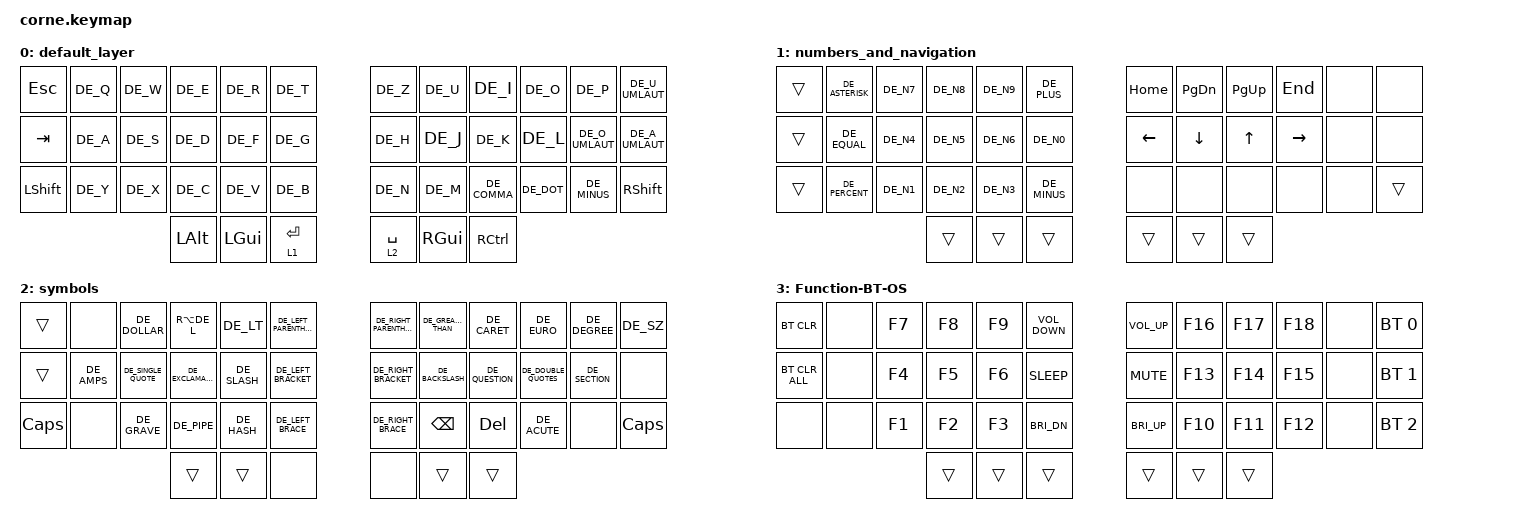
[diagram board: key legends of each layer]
/*
 * Copyright (c) 2020 The ZMK Contributors
 *
 * SPDX-License-Identifier: MIT
 */

#include "keys_de.h"
#include <behaviors.dtsi>
#include <dt-bindings/zmk/bt.h>
#include <dt-bindings/zmk/keys.h>


&lt {
    tapping-term-ms = <190>;
};

/ {
    behaviors {
        shiftcaps: shiftcaps {
            compatible = "zmk,behavior-tap-dance";
            label = "SHIFTCAPS";
            #binding-cells = <0>;
            bindings = <&kp LEFT_SHIFT>, <&kp CAPSLOCK>;
        };

        hm: homerow_mods {
            compatible = "zmk,behavior-hold-tap";
            #binding-cells = <2>;
            tapping-term-ms = <160>;
            quick-tap-ms = <0>;
            flavor = "tap-preferred";
            bindings = <&kp>, <&kp>;
        };

        ue_eszet: ue_eszet {
            compatible = "zmk,behavior-mod-morph";
            label = "UE_ESZET";
            bindings = <&kp DE_U_UMLAUT>, <&kp DE_SHARP_S>;

            #binding-cells = <0>;
            mods = <(MOD_RGUI)>;
        };
    };

    combos {
        compatible = "zmk,combos";

        layer-3 {
            bindings = <&mo 3>;
            key-positions = <38 39>;
        };
    };

    macros {
        next_window: next_window {
            compatible = "zmk,behavior-macro";
            #binding-cells = <0>;
            bindings =
                <&macro_press>,
                <&kp LCTRL>,
                <&macro_tap>,
                <&kp F4>,
                <&macro_release>,
                <&kp LCTRL>;

            label = "NEXT_WINDOW";
        };

        spotlight: spotlight {
            compatible = "zmk,behavior-macro";
            #binding-cells = <0>;
            bindings =
                <&macro_press>,
                <&kp LEFT_GUI>,
                <&macro_tap>,
                <&kp SPACE>,
                <&macro_release>,
                <&kp LEFT_GUI>;

            label = "SPOTLIGHT";
        };
    };

    keymap {
        compatible = "zmk,keymap";

default_layer {
            bindings = <
&kp ESC    &kp DE_Q  &kp DE_W  &kp DE_E      &kp DE_R  &kp DE_T       &kp DE_Z     &kp DE_U  &kp DE_I           &kp DE_O    &kp DE_P         &kp DE_U_UMLAUT
&kp TAB    &kp DE_A  &kp DE_S  &kp DE_D      &kp DE_F  &kp DE_G       &kp DE_H     &kp DE_J  &kp DE_K           &kp DE_L    &kp DE_O_UMLAUT  &kp DE_A_UMLAUT
&kp LSHFT  &kp DE_Y  &kp DE_X  &kp DE_C      &kp DE_V  &kp DE_B       &kp DE_N     &kp DE_M  &kp DE_COMMA       &kp DE_DOT  &kp DE_MINUS     &kp RSHFT
                               &kp LEFT_ALT  &kp LGUI  &lt 1 ENTER    &lt 2 SPACE  &kp RGUI  &kp RIGHT_CONTROL
            >;
        };

        numbers_and_navigation {
            bindings = <
&trans  &kp DE_ASTERISK  &kp DE_N7  &kp DE_N8  &kp DE_N9  &kp DE_PLUS     &kp HOME        &kp PAGE_DOWN  &kp PAGE_UP  &kp END    &none  &none
&trans  &kp DE_EQUAL     &kp DE_N4  &kp DE_N5  &kp DE_N6  &kp DE_N0       &kp LEFT_ARROW  &kp DOWN       &kp UP       &kp RIGHT  &none  &none
&trans  &kp DE_PERCENT   &kp DE_N1  &kp DE_N2  &kp DE_N3  &kp DE_MINUS    &none           &none          &none        &none      &none  &trans
                                    &trans     &trans     &trans          &trans          &trans         &trans
            >;
        };

        symbols {
            bindings = <
&trans    &none        &kp DE_DOLLAR        &kp RA(DE_L)        &kp DE_LT     &kp DE_LEFT_PARENTHESIS    &kp DE_RIGHT_PARENTHESIS  &kp DE_GREATER_THAN  &kp DE_CARET     &kp DE_EURO           &kp DE_DEGREE   &kp DE_SZ
&trans    &kp DE_AMPS  &kp DE_SINGLE_QUOTE  &kp DE_EXCLAMATION  &kp DE_SLASH  &kp DE_LEFT_BRACKET        &kp DE_RIGHT_BRACKET      &kp DE_BACKSLASH     &kp DE_QUESTION  &kp DE_DOUBLE_QUOTES  &kp DE_SECTION  &none
&kp CAPS  &none        &kp DE_GRAVE         &kp DE_PIPE         &kp DE_HASH   &kp DE_LEFT_BRACE          &kp DE_RIGHT_BRACE        &kp BACKSPACE        &kp DELETE       &kp DE_ACUTE          &none           &kp CAPS
                                            &trans              &trans        &none                      &none                     &trans               &trans
            >;
        };

        Function-BT-OS {
            bindings = <
&bt BT_CLR      &none  &kp F7  &kp F8  &kp F9  &kp C_VOLUME_DOWN    &kp C_VOLUME_UP  &kp F16  &kp F17  &kp F18  &none  &bt BT_SEL 0
&bt BT_CLR_ALL  &none  &kp F4  &kp F5  &kp F6  &kp C_SLEEP          &kp C_MUTE       &kp F13  &kp F14  &kp F15  &none  &bt BT_SEL 1
&none           &none  &kp F1  &kp F2  &kp F3  &kp C_BRI_DN         &kp C_BRI_UP     &kp F10  &kp F11  &kp F12  &none  &bt BT_SEL 2
                               &trans  &trans  &trans               &trans           &trans   &trans
            >;
        };
    };
};
